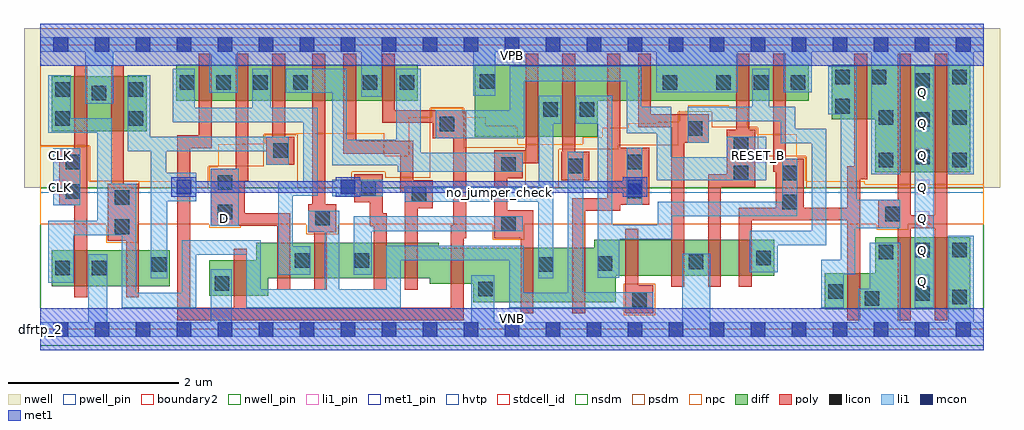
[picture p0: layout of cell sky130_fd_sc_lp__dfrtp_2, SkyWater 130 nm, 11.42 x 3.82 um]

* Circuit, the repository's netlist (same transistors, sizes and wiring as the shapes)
* Copyright 2020 The SkyWater PDK Authors
*
* Licensed under the Apache License, Version 2.0 (the "License");
* you may not use this file except in compliance with the License.
* You may obtain a copy of the License at
*
*     https://www.apache.org/licenses/LICENSE-2.0
*
* Unless required by applicable law or agreed to in writing, software
* distributed under the License is distributed on an "AS IS" BASIS,
* WITHOUT WARRANTIES OR CONDITIONS OF ANY KIND, either express or implied.
* See the License for the specific language governing permissions and
* limitations under the License.
*
* SPDX-License-Identifier: Apache-2.0

.SUBCKT sky130_fd_sc_lp__dfrtp_2 CLK D RESET_B VGND VNB VPB VPWR Q
*.PININFO CLK:I D:I RESET_B:I VGND:I VNB:I VPB:I VPWR:I Q:O
MI46 clkpos clkneg VGND VNB sky130_fd_pr__nfet_01v8 m=1 w=0.42U l=0.15U mult=1
+ sa=0.265 sb=0.265 sd=0.28 area=0.063 perim=1.14
MI42 db clkneg M0 VNB sky130_fd_pr__nfet_01v8 m=1 w=0.42U l=0.15U mult=1 sa=0.265
+ sb=0.265 sd=0.28 area=0.063 perim=1.14
MI656 net86 s0 net116 VNB sky130_fd_pr__nfet_01v8 m=1 w=0.42U l=0.15U mult=1 sa=0.265
+ sb=0.265 sd=0.28 area=0.063 perim=1.14
MI657 net116 RESET_B VGND VNB sky130_fd_pr__nfet_01v8 m=1 w=0.42U l=0.15U mult=1
+ sa=0.265 sb=0.265 sd=0.28 area=0.063 perim=1.14
MI33 net109 RESET_B VGND VNB sky130_fd_pr__nfet_01v8 m=1 w=0.42U l=0.15U mult=1
+ sa=0.265 sb=0.265 sd=0.28 area=0.063 perim=1.14
MI4 M0 clkpos net101 VNB sky130_fd_pr__nfet_01v8 m=1 w=0.42U l=0.15U mult=1 sa=0.265
+ sb=0.265 sd=0.28 area=0.063 perim=1.14
MI34 net101 M1 net109 VNB sky130_fd_pr__nfet_01v8 m=1 w=0.42U l=0.15U mult=1 sa=0.265
+ sb=0.265 sd=0.28 area=0.063 perim=1.14
MI655 s0 clkneg net85 VNB sky130_fd_pr__nfet_01v8 m=1 w=0.42U l=0.15U mult=1 sa=0.265
+ sb=0.265 sd=0.28 area=0.063 perim=1.14
MI652 net153 s0 VGND VNB sky130_fd_pr__nfet_01v8 m=1 w=0.42U l=0.15U mult=1 sa=0.265
+ sb=0.265 sd=0.28 area=0.063 perim=1.14
MI653 Q net153 VGND VNB sky130_fd_pr__nfet_01v8 m=2 w=0.84U l=0.15U mult=1 sa=0.265
+ sb=0.265 sd=0.28 area=0.063 perim=1.14
MI654 net85 net86 VGND VNB sky130_fd_pr__nfet_01v8 m=1 w=0.42U l=0.15U mult=1 sa=0.265
+ sb=0.265 sd=0.28 area=0.063 perim=1.14
MI44 clkneg CLK VGND VNB sky130_fd_pr__nfet_01v8 m=1 w=0.42U l=0.15U mult=1 sa=0.265
+ sb=0.265 sd=0.28 area=0.063 perim=1.14
MI647 M1 M0 VGND VNB sky130_fd_pr__nfet_01v8 m=1 w=0.64U l=0.15U mult=1 sa=0.265
+ sb=0.265 sd=0.28 area=0.063 perim=1.14
MI39 db D net69 VNB sky130_fd_pr__nfet_01v8 m=1 w=0.42U l=0.15U mult=1 sa=0.265
+ sb=0.265 sd=0.28 area=0.063 perim=1.14
MI38 net69 RESET_B VGND VNB sky130_fd_pr__nfet_01v8 m=1 w=0.42U l=0.15U mult=1
+ sa=0.265 sb=0.265 sd=0.28 area=0.063 perim=1.14
MI649 M1 clkpos s0 VNB sky130_fd_pr__nfet_01v8 m=1 w=0.64U l=0.15U mult=1 sa=0.265
+ sb=0.265 sd=0.28 area=0.063 perim=1.14
MI47 clkpos clkneg VPWR VPB sky130_fd_pr__pfet_01v8_hvt m=1 w=0.64U l=0.15U mult=1
+ sa=0.265 sb=0.265 sd=0.28 area=0.063 perim=1.14
MI43 db clkpos M0 VPB sky130_fd_pr__pfet_01v8_hvt m=1 w=0.42U l=0.15U mult=1 sa=0.265
+ sb=0.265 sd=0.28 area=0.063 perim=1.14
MI662 net181 net86 VPWR VPB sky130_fd_pr__pfet_01v8_hvt m=1 w=0.42U l=0.15U mult=1
+ sa=0.265 sb=0.265 sd=0.28 area=0.063 perim=1.14
MI659 net86 RESET_B VPWR VPB sky130_fd_pr__pfet_01v8_hvt m=1 w=0.42U l=0.15U mult=1
+ sa=0.265 sb=0.265 sd=0.28 area=0.063 perim=1.14
MI664 s0 clkpos net181 VPB sky130_fd_pr__pfet_01v8_hvt m=1 w=0.42U l=0.15U mult=1
+ sa=0.265 sb=0.265 sd=0.28 area=0.063 perim=1.14
MI658 net86 s0 VPWR VPB sky130_fd_pr__pfet_01v8_hvt m=1 w=0.42U l=0.15U mult=1
+ sa=0.265 sb=0.265 sd=0.28 area=0.063 perim=1.14
MI30 net160 M1 VPWR VPB sky130_fd_pr__pfet_01v8_hvt m=1 w=0.42U l=0.15U mult=1
+ sa=0.265 sb=0.265 sd=0.28 area=0.063 perim=1.14
MI31 M0 clkneg net160 VPB sky130_fd_pr__pfet_01v8_hvt m=1 w=0.42U l=0.15U mult=1
+ sa=0.265 sb=0.265 sd=0.28 area=0.063 perim=1.14
MI32 M0 RESET_B VPWR VPB sky130_fd_pr__pfet_01v8_hvt m=1 w=0.42U l=0.15U mult=1
+ sa=0.265 sb=0.265 sd=0.28 area=0.063 perim=1.14
MI663 net153 s0 VPWR VPB sky130_fd_pr__pfet_01v8_hvt m=1 w=0.64U l=0.15U mult=1
+ sa=0.265 sb=0.265 sd=0.28 area=0.063 perim=1.14
MI660 Q net153 VPWR VPB sky130_fd_pr__pfet_01v8_hvt m=2 w=1.26U l=0.15U mult=1
+ sa=0.265 sb=0.265 sd=0.28 area=0.063 perim=1.14
MI45 clkneg CLK VPWR VPB sky130_fd_pr__pfet_01v8_hvt m=1 w=0.64U l=0.15U mult=1
+ sa=0.265 sb=0.265 sd=0.28 area=0.063 perim=1.14
MI648 M1 M0 VPWR VPB sky130_fd_pr__pfet_01v8_hvt m=1 w=0.84U l=0.15U mult=1 sa=0.265
+ sb=0.265 sd=0.28 area=0.063 perim=1.14
MI41 db RESET_B VPWR VPB sky130_fd_pr__pfet_01v8_hvt m=1 w=0.42U l=0.15U mult=1
+ sa=0.265 sb=0.265 sd=0.28 area=0.063 perim=1.14
MI40 db D VPWR VPB sky130_fd_pr__pfet_01v8_hvt m=1 w=0.42U l=0.15U mult=1 sa=0.265
+ sb=0.265 sd=0.28 area=0.063 perim=1.14
MI650 M1 clkneg s0 VPB sky130_fd_pr__pfet_01v8_hvt m=1 w=0.84U l=0.15U mult=1 sa=0.265
+ sb=0.265 sd=0.28 area=0.063 perim=1.14
.ENDS sky130_fd_sc_lp__dfrtp_2

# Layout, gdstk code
import gdstk
lib = gdstk.Library(unit=1e-6, precision=1e-09)
def R(c, l, rs):  # rectangles x0, y0, x1, y1
    for r in rs: c.add(gdstk.rectangle(r[:2], r[2:], *l))
def A(c, l, x, y, w, h, nx, ny, dx, dy):  # array of equal rectangles
    R(c, l, [(x+i*dx, y+j*dy, x+i*dx+w, y+j*dy+h) for i in range(nx) for j in range(ny)])
def P(c, l, *ps):  # polygons
    for p in ps: c.add(gdstk.Polygon(p, *l))
nwell_pin = (64, 16)
nwell = (64, 20)
diff = (65, 20)
poly = (66, 20)
licon = (66, 44)
li1_pin = (67, 16)
li1 = (67, 20)
mcon = (67, 44)
met1_pin = (68, 16)
met1 = (68, 20)
hvtp = (78, 44)
stdcell_id = (81, 4)
nsdm = (93, 44)
psdm = (94, 20)
npc = (95, 20)
pwell_pin = (122, 16)
boundary2 = (236, 0)

sky130_fd_sc_lp__dfrtp_2 = lib.new_cell('sky130_fd_sc_lp__dfrtp_2')
R(sky130_fd_sc_lp__dfrtp_2, nwell_pin, [(0,3.085,11.04,3.33)])
R(sky130_fd_sc_lp__dfrtp_2, nwell, [(-0.19,1.655,11.23,3.52)])
R(sky130_fd_sc_lp__dfrtp_2, diff, [(0.135,0.505,1.515,0.925), (0.135,2.32,1.245,2.96), (1.59,2.675,4.415,3.095)])
P(sky130_fd_sc_lp__dfrtp_2, diff, [(8.59,1.045),(6.485,1.045),(6.485,0.955),(4.665,0.955),(4.665,1.015),(2.525,1.015),(2.525,0.81),(1.98,0.81),(1.98,0.39),(2.665,0.39),(2.665,0.595),(4.555,0.595),(4.555,0.535),(5.065,0.535),(5.065,0.315),(6.735,0.315),(6.735,0.625),(8.59,0.625)],
  [(8.99,3.095),(5.085,3.095),(5.085,2.255),(6.525,2.255),(6.525,2.675),(8.99,2.675)],
  [(10.88,3.095),(9.26,3.095),(9.26,2.455),(9.77,2.455),(9.77,1.835),(10.88,1.835)],
  [(10.88,1.075),(9.77,1.075),(9.77,0.655),(9.18,0.655),(9.18,0.235),(10.88,0.235)])
P(sky130_fd_sc_lp__dfrtp_2, poly, [(0.55,3.09),(0.4,3.09),(0.4,2.12),(0.22,2.12),(0.22,1.45),(0.4,1.45),(0.4,0.375),(0.55,0.375)],
  [(1.155,1.705),(0.98,1.705),(0.98,3.09),(0.83,3.09),(0.83,1.705),(0.79,1.705),(0.79,1.035),(1.005,1.035),(1.005,0.375),(1.155,0.375)],
  [(2.925,1.36),(2.395,1.36),(2.395,1.73),(2.435,1.73),(2.435,3.225),(2.285,3.225),(2.285,1.88),(1.995,1.88),(1.995,1.21),(2.775,1.21),(2.775,0.465),(2.925,0.465)],
  [(2.975,2.255),(2.865,2.255),(2.865,3.225),(2.715,3.225),(2.715,2.255),(2.645,2.255),(2.645,1.925),(2.975,1.925)],
  [(3.465,1.465),(3.335,1.465),(3.335,3.225),(3.185,3.225),(3.185,1.465),(3.135,1.465),(3.135,1.135),(3.205,1.135),(3.205,0.465),(3.355,0.465),(3.355,1.135),(3.465,1.135)],
  [(4.055,1.355),(4.005,1.355),(4.005,1.815),(3.675,1.815),(3.675,1.485),(3.855,1.485),(3.855,1.205),(3.905,1.205),(3.905,0.465),(4.055,0.465)],
  [(4.595,1.745),(4.365,1.745),(4.365,2.205),(3.695,2.205),(3.695,3.225),(3.545,3.225),(3.545,2.055),(4.215,2.055),(4.215,1.595),(4.265,1.595),(4.265,0.465),(4.415,0.465),(4.415,1.415),(4.595,1.415)],
  [(4.985,2.565),(4.15,2.565),(4.15,3.225),(4,3.225),(4,2.415),(4.595,2.415),(4.595,2.235),(4.835,2.235),(4.835,1.215),(4.805,1.215),(4.805,0.255),(2.415,0.255),(2.415,0.94),(2.265,0.94),(2.265,0.255),(1.755,0.255),(1.755,2.12),(2.005,2.12),(2.005,3.225),(1.855,3.225),(1.855,2.27),(1.605,2.27),(1.605,0.105),(4.955,0.105),(4.955,1.065),(4.985,1.065)],
  [(5.83,3.225),(5.68,3.225),(5.68,2.095),(5.315,2.095),(5.315,1.065),(5.62,1.065),(5.62,0.185),(5.77,0.185),(5.77,1.395),(5.465,1.395),(5.465,1.765),(5.645,1.765),(5.645,1.945),(5.83,1.945)],
  [(6.425,2.075),(6.26,2.075),(6.26,3.225),(6.11,3.225),(6.11,2.075),(6.095,2.075),(6.095,1.745),(6.425,1.745)],
  [(7.125,2.125),(6.785,2.125),(6.785,3.225),(6.635,3.225),(6.635,1.535),(6.225,1.535),(6.225,0.185),(6.375,0.185),(6.375,1.385),(6.785,1.385),(6.785,1.455),(7.125,1.455)],
  [(7.175,0.515),(6.995,0.515),(6.995,1.175),(6.845,1.175),(6.845,0.185),(7.175,0.185)],
  [(7.825,2.515),(7.145,2.515),(7.145,3.225),(6.995,3.225),(6.995,2.365),(7.385,2.365),(7.385,0.495),(7.535,0.495),(7.535,2.185),(7.825,2.185)],
  [(8.365,2.335),(8.295,2.335),(8.295,3.225),(8.145,3.225),(8.145,2.335),(8.035,2.335),(8.035,1.815),(7.815,1.815),(7.815,0.495),(7.965,0.495),(7.965,1.665),(8.365,1.665)],
  [(9.675,3.225),(9.525,3.225),(9.525,1.905),(9.445,1.905),(9.445,1.425),(8.935,1.425),(8.935,1.995),(8.725,1.995),(8.725,3.225),(8.575,3.225),(8.575,1.845),(8.605,1.845),(8.605,1.425),(8.175,1.425),(8.175,0.495),(8.325,0.495),(8.325,1.275),(9.445,1.275),(9.445,0.105),(9.595,0.105),(9.595,1.755),(9.675,1.755)],
  [(10.615,3.225),(10.465,3.225),(10.465,1.335),(10.185,1.335),(10.185,3.225),(10.035,3.225),(10.035,1.515),(9.805,1.515),(9.805,1.185),(10.035,1.185),(10.035,0.105),(10.185,0.105),(10.185,1.185),(10.465,1.185),(10.465,0.105),(10.615,0.105)])
A(sky130_fd_sc_lp__dfrtp_2, licon, 1.63, 2.8, 0.17, 0.17, 3, 1, 0.43, 0)
R(sky130_fd_sc_lp__dfrtp_2, licon, [(6.925,0.265,7.095,0.435), (9.65,0.275,9.82,0.445), (10.67,0.295,10.84,0.465), (10.24,0.335,10.41,0.505), (9.22,0.36,9.39,0.53), (5.125,0.385,5.295,0.555), (2.04,0.45,2.21,0.62), (0.175,0.63,0.345,0.8), (0.605,0.63,0.775,0.8), (1.305,0.675,1.475,0.845), (5.825,0.675,5.995,0.845), (6.525,0.685,6.695,0.855), (7.59,0.7,7.76,0.87), (2.98,0.72,3.15,0.89), (3.68,0.72,3.85,0.89), (8.38,0.75,8.55,0.92), (9.81,0.82,9.98,0.99), (10.24,0.845,10.41,1.015), (10.67,0.845,10.84,1.015), (0.87,1.115,1.04,1.285), (5.395,1.145,5.565,1.315), (3.215,1.215,3.385,1.385), (9.885,1.265,10.055,1.435), (2.075,1.29,2.245,1.46), (8.685,1.405,8.855,1.575), (0.87,1.455,1.04,1.625), (4.345,1.495,4.515,1.665), (0.3,1.53,0.47,1.7), (6.875,1.535,7.045,1.705), (3.755,1.565,3.925,1.735), (2.075,1.63,2.245,1.8), (8.115,1.745,8.285,1.915), (8.685,1.745,8.855,1.915), (6.175,1.825,6.345,1.995), (5.395,1.845,5.565,2.015), (0.3,1.87,0.47,2.04), (6.875,1.875,7.045,2.045), (9.81,1.895,9.98,2.065), (10.67,1.895,10.84,2.065), (10.24,1.93,10.41,2.1), (2.725,2.005,2.895,2.175), (8.115,2.085,8.285,2.255), (7.575,2.265,7.745,2.435), (4.675,2.315,4.845,2.485), (10.24,2.37,10.41,2.54), (0.175,2.38,0.345,2.55), (1.035,2.38,1.205,2.55), (9.81,2.395,9.98,2.565), (10.67,2.395,10.84,2.565), (5.885,2.485,6.055,2.655), (6.315,2.485,6.485,2.655), (9.3,2.525,9.47,2.695), (0.605,2.68,0.775,2.85), (0.175,2.72,0.345,2.89), (1.035,2.72,1.205,2.89), (2.96,2.8,3.13,2.97), (3.775,2.8,3.945,2.97), (4.205,2.8,4.375,2.97), (7.285,2.8,7.455,2.97), (7.91,2.8,8.08,2.97), (8.35,2.8,8.52,2.97), (8.78,2.8,8.95,2.97), (5.145,2.815,5.315,2.985), (10.24,2.825,10.41,2.995), (9.3,2.865,9.47,3.035), (9.73,2.865,9.9,3.035), (10.67,2.865,10.84,3.035)])
A(sky130_fd_sc_lp__dfrtp_2, li1_pin, 10.235, 0.47, 0.17, 0.17, 1, 7, 0, 0.37)
R(sky130_fd_sc_lp__dfrtp_2, li1_pin, [(2.075,1.21,2.245,1.38), (0.155,1.58,0.325,1.75), (0.155,1.95,0.325,2.12), (8.315,1.95,8.485,2.12)])
R(sky130_fd_sc_lp__dfrtp_2, li1, [(10.23,0.255,10.455,3.075), (1.995,1.21,2.325,1.88), (0.155,1.45,0.47,2.12), (6.865,1.455,7.045,2.125), (3.415,1.555,4.005,1.75)])
P(sky130_fd_sc_lp__dfrtp_2, li1, [(8.33,2.605),(8.33,3.05),(8.53,3.05),(8.53,2.605),(8.835,2.605),(8.835,2.345),(9.195,2.345),(9.195,0.985),(8.63,0.985),(8.63,0.67),(8.3,0.67),(8.3,1.155),(9.025,1.155),(9.025,2.175),(8.665,2.175),(8.665,2.435),(7.825,2.435),(7.825,2.185),(7.575,2.185),(7.575,2.605)],
  [(3.33,0.47),(3.33,1.14),(3.135,1.14),(3.135,1.385),(3.5,1.385),(3.5,0.47),(4.05,0.47),(4.05,0.975),(5.655,0.975),(5.655,0.425),(6.175,0.425),(6.175,2.075),(6.355,2.075),(6.355,0.435),(7.175,0.435),(7.175,0.255),(5.485,0.255),(5.485,0.805),(4.22,0.805),(4.22,0.255),(2.41,0.255),(2.41,0.87),(1.825,0.87),(1.825,0.255),(0.955,0.255),(0.955,1.1),(0.39,1.1),(0.39,0.545),(0.095,0.545),(0.095,1.27),(0.665,1.27),(0.665,2.3),(0.095,2.3),(0.095,2.97),(0.355,2.97),(0.355,2.47),(0.835,2.47),(0.835,1.705),(1.125,1.705),(1.125,0.425),(1.655,0.425),(1.655,1.04),(2.58,1.04),(2.58,0.47)],
  [(2.645,2.085),(1.475,2.085),(1.475,1.83),(1.825,1.83),(1.825,1.5),(1.485,1.5),(1.485,0.595),(1.295,0.595),(1.295,2.085),(1.025,2.085),(1.025,2.97),(1.285,2.97),(1.285,2.255),(2.905,2.255),(2.905,1.925),(2.645,1.925)],
  [(3.755,2.72),(3.755,3.245),(2.31,3.245),(2.31,2.765),(1.98,2.765),(1.98,3.245),(0.855,3.245),(0.855,2.64),(0.525,2.64),(0.525,3.245),(0,3.245),(0,3.415),(11.04,3.415),(11.04,3.245),(10.92,3.245),(10.92,1.815),(10.625,1.815),(10.625,3.245),(10.06,3.245),(10.06,1.815),(9.725,1.815),(9.725,3.245),(9.03,3.245),(9.03,2.775),(8.7,2.775),(8.7,3.245),(8.16,3.245),(8.16,2.775),(7.205,2.775),(7.205,3.245),(5.325,3.245),(5.325,2.735),(5.065,2.735),(5.065,3.245),(3.995,3.245),(3.995,2.72)],
  [(9.555,1.515),(10.06,1.515),(10.06,1.185),(9.535,1.185),(9.535,0.645),(9.4,0.645),(9.4,0.255),(9.14,0.255),(9.14,0.815),(9.365,0.815),(9.365,2.515),(9.22,2.515),(9.22,3.075),(9.555,3.075)],
  [(6.695,1.225),(7.225,1.225),(7.225,1.495),(8.685,1.495),(8.685,1.995),(8.855,1.995),(8.855,1.325),(7.395,1.325),(7.395,1.055),(6.775,1.055),(6.775,0.605),(6.525,0.605),(6.525,2.405),(6.265,2.405),(6.265,2.735),(6.695,2.735)],
  [(5.825,0.595),(5.825,1.495),(4.265,1.495),(4.265,1.675),(5.835,1.675),(5.835,2.735),(6.095,2.735),(6.095,2.405),(6.005,2.405),(6.005,0.595)],
  [(3.415,1.92),(3.415,2.765),(2.87,2.765),(2.87,3.05),(3.585,3.05),(3.585,2.22),(4.165,2.22),(4.165,3.05),(4.455,3.05),(4.455,2.065),(5.645,2.065),(5.645,1.845),(4.185,1.845),(4.185,1.92)],
  [(2.7,2.595),(3.245,2.595),(3.245,1.565),(2.955,1.565),(2.955,0.97),(3.16,0.97),(3.16,0.64),(2.785,0.64),(2.785,1.735),(3.075,1.735),(3.075,2.425),(1.55,2.425),(1.55,3.05),(1.81,3.05),(1.81,2.595),(2.48,2.595),(2.48,3.05),(2.7,3.05)],
  [(5.645,1.325),(5.645,1.145),(3.88,1.145),(3.88,0.64),(3.67,0.64),(3.67,1.325)],
  [(8.495,2.255),(8.035,2.255),(8.035,2.015),(7.385,2.015),(7.385,2.605),(7.035,2.605),(7.035,3.075),(5.495,3.075),(5.495,2.565),(4.625,2.565),(4.625,2.235),(5.665,2.235),(5.665,2.905),(6.865,2.905),(6.865,2.295),(7.215,2.295),(7.215,1.745),(8.495,1.745)],
  [(11.04,0.085),(10.92,0.085),(10.92,1.095),(10.625,1.095),(10.625,0.085),(10.06,0.085),(10.06,1.015),(9.705,1.015),(9.705,0.475),(9.57,0.475),(9.57,0.085),(7.84,0.085),(7.84,0.885),(7.51,0.885),(7.51,0.085),(5.315,0.085),(5.315,0.635),(5.045,0.635),(5.045,0.085),(2.24,0.085),(2.24,0.7),(1.995,0.7),(1.995,0.085),(0.785,0.085),(0.785,0.88),(0.56,0.88),(0.56,0.085),(0,0.085),(0,-0.085),(11.04,-0.085)])
A(sky130_fd_sc_lp__dfrtp_2, mcon, 0.155, -0.085, 0.17, 0.17, 23, 2, 0.48, 3.33)
R(sky130_fd_sc_lp__dfrtp_2, mcon, [(1.595,1.58,1.765,1.75), (3.515,1.58,3.685,1.75), (6.875,1.58,7.045,1.75)])
R(sky130_fd_sc_lp__dfrtp_2, met1_pin, [(0,0,11.04,0.245), (0,3.085,11.04,3.33)])
R(sky130_fd_sc_lp__dfrtp_2, met1, [(0,-0.245,11.04,0.245), (0,3.085,11.04,3.575)])
P(sky130_fd_sc_lp__dfrtp_2, met1, [(1.825,1.735),(3.455,1.735),(3.455,1.78),(3.745,1.78),(3.745,1.735),(6.815,1.735),(6.815,1.78),(7.105,1.78),(7.105,1.55),(6.815,1.55),(6.815,1.595),(3.745,1.595),(3.745,1.55),(3.455,1.55),(3.455,1.595),(1.825,1.595),(1.825,1.55),(1.535,1.55),(1.535,1.78),(1.825,1.78)])
R(sky130_fd_sc_lp__dfrtp_2, hvtp, [(0,1.6,11.04,3.33)])
R(sky130_fd_sc_lp__dfrtp_2, stdcell_id, [(0,0,11.04,3.33)])
R(sky130_fd_sc_lp__dfrtp_2, nsdm, [(0,-0.19,11.04,1.655)])
P(sky130_fd_sc_lp__dfrtp_2, psdm, [(11.04,3.52),(0,3.52),(0,2.15),(0.58,2.15),(0.58,1.735),(1.15,1.735),(1.15,1.655),(1.965,1.655),(1.965,1.91),(2.615,1.91),(2.615,2.285),(3.005,2.285),(3.005,1.655),(3.645,1.655),(3.645,1.845),(4.035,1.845),(4.035,1.775),(4.565,1.775),(4.565,2.595),(4.955,2.595),(4.955,2.125),(5.675,2.125),(5.675,1.655),(6.065,1.655),(6.065,2.105),(6.765,2.105),(6.765,2.155),(7.465,2.155),(7.465,2.545),(7.855,2.545),(7.855,2.365),(8.395,2.365),(8.395,2.025),(8.965,2.025),(8.965,1.655),(11.04,1.655)])
R(sky130_fd_sc_lp__dfrtp_2, npc, [(6.825,0.165,7.195,0.535)])
P(sky130_fd_sc_lp__dfrtp_2, npc, [(11.04,1.695),(9.645,1.695),(9.645,1.73),(8.955,1.73),(8.955,2.015),(8.85,2.015),(8.85,2.28),(8.385,2.28),(8.385,2.355),(8.28,2.355),(8.28,2.585),(8.055,2.585),(8.055,2.62),(7.58,2.62),(7.58,2.535),(7.475,2.535),(7.475,2.43),(7.21,2.43),(7.21,2.41),(6.88,2.41),(6.88,2.36),(6.575,2.36),(6.575,2.245),(6.35,2.245),(6.35,2.165),(5.59,2.165),(5.59,2.36),(5.56,2.36),(5.56,2.38),(5.21,2.38),(5.21,2.48),(4.945,2.48),(4.945,2.585),(4.575,2.585),(4.575,2.48),(4.31,2.48),(4.31,2.03),(4.025,2.03),(4.025,2.295),(2.995,2.295),(2.995,2.275),(2.625,2.275),(2.625,2.17),(2.36,2.17),(2.36,2.165),(2.08,2.165),(2.08,1.9),(1.975,1.9),(1.975,1.73),(0.57,1.73),(0.57,2.14),(0,2.14),(0,1.23),(0.77,1.23),(0.77,1.015),(1.14,1.015),(1.14,1.23),(1.975,1.23),(1.975,1.19),(2.345,1.19),(2.345,1.23),(3.115,1.23),(3.115,1.115),(3.485,1.115),(3.485,1.23),(5.295,1.23),(5.295,1.045),(5.665,1.045),(5.665,1.23),(9.785,1.23),(9.785,1.165),(10.155,1.165),(10.155,1.23),(11.04,1.23)])
R(sky130_fd_sc_lp__dfrtp_2, pwell_pin, [(0,0,11.04,0.245)])
R(sky130_fd_sc_lp__dfrtp_2, boundary2, [(0,0,11.04,3.33)])
sky130_fd_sc_lp__dfrtp_2.add(gdstk.Label('VNB', (5.52,0.123), layer=64, texttype=59))
sky130_fd_sc_lp__dfrtp_2.add(gdstk.Label('VPB', (5.52,3.208), layer=64, texttype=5))
sky130_fd_sc_lp__dfrtp_2.add(gdstk.Label('dfrtp_2', (0,0), layer=83, texttype=44))
sky130_fd_sc_lp__dfrtp_2.add(gdstk.Label('no_jumper_check', (5.375,1.6), layer=83, texttype=44))
sky130_fd_sc_lp__dfrtp_2.add(gdstk.Label('VPWR', (5.52,3.208), layer=68, texttype=5))
sky130_fd_sc_lp__dfrtp_2.add(gdstk.Label('VGND', (5.52,0.123), layer=68, texttype=5))
sky130_fd_sc_lp__dfrtp_2.add(gdstk.Label('RESET_B', (8.4,2.035), layer=67, texttype=5))
sky130_fd_sc_lp__dfrtp_2.add(gdstk.Label('CLK', (0.24,1.665), layer=67, texttype=5))
sky130_fd_sc_lp__dfrtp_2.add(gdstk.Label('CLK', (0.24,2.035), layer=67, texttype=5))
sky130_fd_sc_lp__dfrtp_2.add(gdstk.Label('D', (2.16,1.295), layer=67, texttype=5))
sky130_fd_sc_lp__dfrtp_2.add(gdstk.Label('Q', (10.32,0.555), layer=67, texttype=5))
sky130_fd_sc_lp__dfrtp_2.add(gdstk.Label('Q', (10.32,0.925), layer=67, texttype=5))
sky130_fd_sc_lp__dfrtp_2.add(gdstk.Label('Q', (10.32,1.295), layer=67, texttype=5))
sky130_fd_sc_lp__dfrtp_2.add(gdstk.Label('Q', (10.32,1.665), layer=67, texttype=5))
sky130_fd_sc_lp__dfrtp_2.add(gdstk.Label('Q', (10.32,2.035), layer=67, texttype=5))
sky130_fd_sc_lp__dfrtp_2.add(gdstk.Label('Q', (10.32,2.405), layer=67, texttype=5))
sky130_fd_sc_lp__dfrtp_2.add(gdstk.Label('Q', (10.32,2.775), layer=67, texttype=5))

lib.write_gds('sky130_fd_sc_lp__dfrtp_2.gds')
